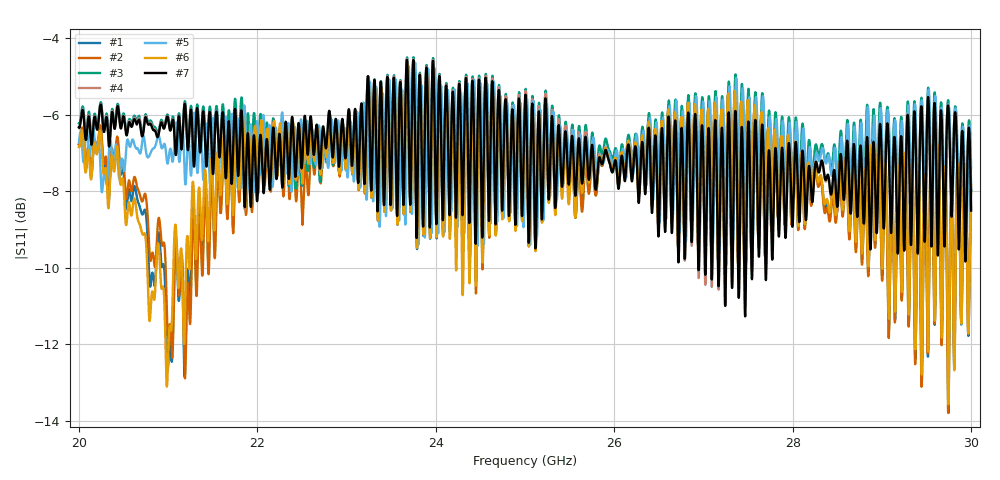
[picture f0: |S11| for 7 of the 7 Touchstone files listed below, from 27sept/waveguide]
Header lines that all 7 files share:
#  HZ  S  RI  R  50.00
! Rohde & Schwarz ZVA40 4Ports - Version 3.90 - 1145.1110k42 SN: 100403
! Measurement: S22
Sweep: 20 GHz to 30 GHz
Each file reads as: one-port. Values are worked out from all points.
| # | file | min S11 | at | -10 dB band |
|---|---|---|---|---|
| 1 | kz.s1p | -13.8 dB | 29.75 GHz | 114.3 MHz wide |
| 2 | pin_diode.s1p | -13.8 dB | 29.74 GHz | 101.3 MHz wide |
| 3 | screen.s1p | -9.7 dB | 27.25 GHz | - |
| 4 | xx0.s1p | -11.0 dB | 27.47 GHz | 17.94 MHz wide |
| 5 | xx2.s1p | -9.9 dB | 27.25 GHz | - |
| 6 | xx8.s1p | -13.6 dB | 29.75 GHz | 149.7 MHz wide |
| 7 | xx_no_number.s1p | -11.3 dB | 27.47 GHz | 19.46 MHz wide |
